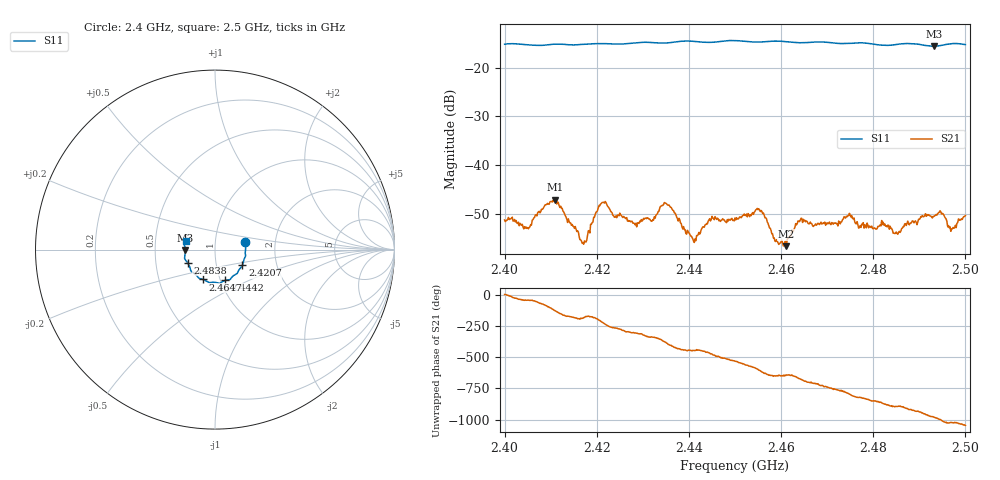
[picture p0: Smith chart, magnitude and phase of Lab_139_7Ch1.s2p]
# Hz S RI R 50
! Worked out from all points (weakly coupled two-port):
!   601 points, 2.4 GHz to 2.5 GHz, reference 50 ohm
!   highest |S21| = -47.06 dB at 2.411 GHz (marker M1); lowest = -56.5 dB at 2.4612 GHz (marker M2)
!   lowest |S11| = -15.6 dB at 2.4932 GHz (marker M3), VSWR 1.40, Z = 35.8 - j0.123 ohm
!   |S11| at or under -10 dB: start of sweep to end of sweep
!   S12 and S22 are empty: the file has one direction only
!   S11 on the Smith chart (normalised r, x): 2.4 GHz: 1.40, +0.12; 2.4207 GHz: 1.33, -0.24; 2.4442 GHz: 1.05, -0.37; 2.4647 GHz: 0.83, -0.29; 2.4838 GHz: 0.73, -0.11; 2.5 GHz: 0.71, +0.07
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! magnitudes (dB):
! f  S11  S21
! 2.4 GHz  -15.2  -51.2
! 2.405 GHz  -15.4  -52.7
! 2.411 GHz  -15.2  -47.1
! 2.4167 GHz  -15.3  -55.5
! 2.4207 GHz  -15.1  -48.3
! 2.4283 GHz  -14.9  -52.2
! 2.4333 GHz  -15.0  -49.4
! 2.4353 GHz  -14.9  -48.1
! 2.441 GHz  -14.6  -55.5
! 2.4442 GHz  -14.9  -51.5
! 2.45 GHz  -14.5  -50.8
! 2.4553 GHz  -14.8  -49.1
! 2.459 GHz  -14.6  -55.2
! 2.4612 GHz  -14.7  -56.5
! 2.4647 GHz  -14.9  -51.7
! 2.4667 GHz  -14.8  -52.0
! 2.4748 GHz  -15.0  -49.8
! 2.4833 GHz  -15.4  -52.3
! 2.4838 GHz  -15.4  -52.9
! 2.4932 GHz  -15.6  -50.5
! 2.4972 GHz  -15.1  -53.0
! 2.5 GHz  -15.3  -50.3
